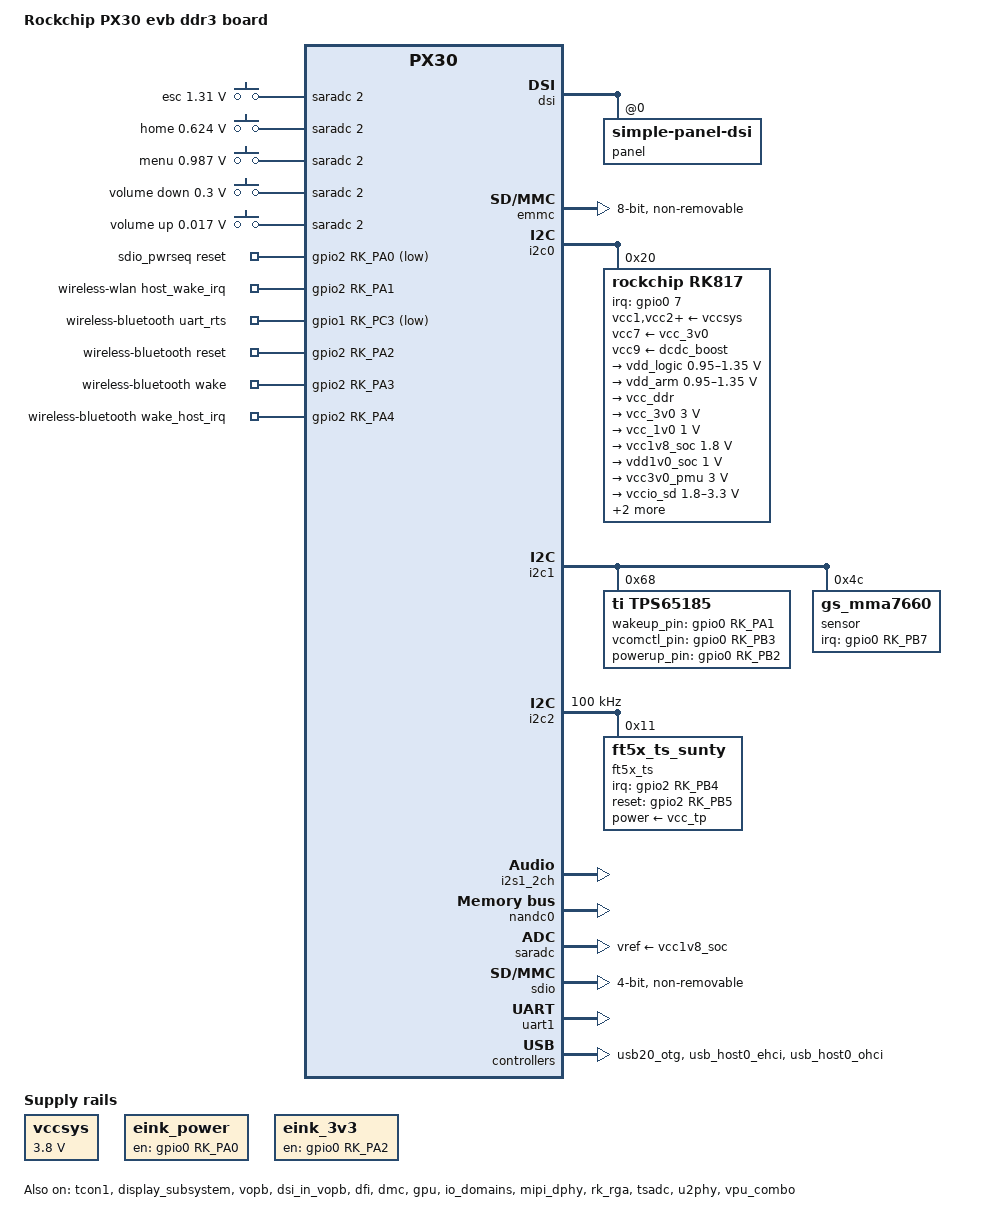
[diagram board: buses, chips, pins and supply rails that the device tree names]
/*
 * Copyright (c) 2017 Fuzhou Rockchip Electronics Co., Ltd
 *
 * SPDX-License-Identifier: (GPL-2.0+ OR MIT)
 */

/dts-v1/;
#include <dt-bindings/gpio/gpio.h>
#include <dt-bindings/pinctrl/rockchip.h>
#include <dt-bindings/input/input.h>
#include <dt-bindings/display/drm_mipi_dsi.h>
#include <dt-bindings/sensor-dev.h>
#include "px30.dtsi"
#include "px30-android.dtsi"
#include "px30-eink.dtsi"

/ {
	model = "Rockchip PX30 evb ddr3 board";
	compatible = "rockchip,px30-ht-soft", "rockchip,px30";
	eink: eink {
		compatible = "rockchip,eink";
		tcon = <&tcon1>;
		memory-region = <&display_reserved>;
		waveform-region = <&waveform_reserved>;
		nvmem = <&otp>;
		nvmem-names = "rockchip-otp";

		/* ES103TC1 */
		#if 0
		panel,width = <1872>;
		panel,height = <1404>;
		panel,vir_width = <1872>;
		panel,vir_height = <1404>;
		panel,sdck = <33300000>;
		panel,pixels-per-sdck = <8>;
		panel,lsl = <11>;
		panel,lbl = <8>;
		panel,ldl = <234>;
		panel,lel = <23>;
		panel,gdck-sta = <10>;
		panel,lgonl = <215>;
		panel,fsl = <1>;
		panel,fbl = <4>;
		panel,fdl = <1404>;
		panel,fel = <12>;
		panel,vcom-mv = <1560>;

		/* ED097TC2U1 */
		#else
		panel,width = <1200>;
		panel,height = <825>;
		panel,vir_width = <1200>;
		panel,vir_height = <832>;
		panel,sdck = <25000000>;
		panel,pixels-per-sdck = <4>;
		panel,lsl = <4>;
		panel,lbl = <4>;
		panel,ldl = <300>;
		panel,lel = <36>;
		panel,gdck-sta = <18>;
		panel,lgonl = <265>;
		panel,fsl = <2>;
		panel,fbl = <4>;
		panel,fdl = <825>;
		panel,fel = <24>;
		panel,vcom-mv = <1930>;
		#endif
	};

	adc-keys {
		compatible = "adc-keys";
		io-channels = <&saradc 2>;
		io-channel-names = "buttons";
		poll-interval = <100>;
		keyup-threshold-microvolt = <1800000>;

		esc-key {
			linux,code = <KEY_ESC>;
			label = "esc";
			press-threshold-microvolt = <1310000>;
		};

		home-key {
			linux,code = <KEY_HOME>;
			label = "home";
			press-threshold-microvolt = <624000>;
		};

		menu-key {
			linux,code = <KEY_MENU>;
			label = "menu";
			press-threshold-microvolt = <987000>;
		};

		vol-down-key {
			linux,code = <KEY_VOLUMEDOWN>;
			label = "volume down";
			press-threshold-microvolt = <300000>;
		};

		vol-up-key {
			linux,code = <KEY_VOLUMEUP>;
			label = "volume up";
			press-threshold-microvolt = <17000>;
		};
	};

	rk817-sound {
		compatible = "simple-audio-card";
		simple-audio-card,format = "i2s";
		simple-audio-card,name = "rockchip,rk817-codec";
		simple-audio-card,mclk-fs = <256>;
		simple-audio-card,widgets =
			"Microphone", "Mic Jack",
			"Headphone", "Headphone Jack";
		simple-audio-card,routing =
			"MIC_IN", "Microphone Jack",
			"IN1P", "Mic Jack",
			"Headphone Jack", "HPOL",
			"Headphone Jack", "HPOR";
		simple-audio-card,cpu {
			sound-dai = <&i2s1_2ch>;
		};
		simple-audio-card,codec {
			sound-dai = <&rk817_codec>;
		};
	};
#if 0
	rk_headset {
		compatible = "rockchip_headset";
		headset_gpio = <&gpio3 RK_PA4 GPIO_ACTIVE_LOW>;
		pinctrl-names = "default";
		pinctrl-0 = <&hp_det>;
		io-channels = <&saradc 1>;
	};
#endif
	sdio_pwrseq: sdio-pwrseq {
		compatible = "mmc-pwrseq-simple";
		/*clocks = <&rk809 1>;*/
		/*clock-names = "ext_clock";*/
		pinctrl-names = "default";
		pinctrl-0 = <&wifi_enable_h>;

		/*
		 * On the module itself this is one of these (depending
		 * on the actual card populated):
		 * - SDIO_RESET_L_WL_REG_ON
		 * - PDN (power down when low)
		 */
		reset-gpios = <&gpio2 RK_PA0 GPIO_ACTIVE_LOW>; /* GPIO3_A4 */
	};

	vccsys: vccsys {
		compatible = "regulator-fixed";
		regulator-name = "vcc3v8_sys";
		regulator-always-on;
		regulator-boot-on;
		regulator-min-microvolt = <3800000>;
		regulator-max-microvolt = <3800000>;
	};

	eink_power: eink-power {
		compatible = "regulator-fixed";
		regulator-name = "eink_power";
		gpio = <&gpio0 RK_PA0 GPIO_ACTIVE_HIGH>;
		enable-active-high;
		regulator-boot-on;
		regulator-always-on;
	};

	eink_3v3: eink-3v3 {
		compatible = "regulator-fixed";
		regulator-name = "eink-3v3";
		gpio = <&gpio0 RK_PA2 GPIO_ACTIVE_HIGH>;
		enable-active-high;
		regulator-boot-on;
		regulator-always-on;
	};

	wireless-wlan {
		compatible = "wlan-platdata";
		wifi_chip_type = "ap6212";
		WIFI,host_wake_irq = <&gpio2 RK_PA1 GPIO_ACTIVE_HIGH>;
		status = "okay";
	};

	wireless-bluetooth {
		compatible = "bluetooth-platdata";
		clocks = <&rk817 1>;
		clock-names = "ext_clock";
		uart_rts_gpios = <&gpio1 RK_PC3 GPIO_ACTIVE_LOW>;
		pinctrl-names = "default","rts_gpio";
		pinctrl-0 = <&uart1_rts>;
		pinctrl-1 = <&uart1_rts_gpio>;
		BT,reset_gpio = <&gpio2 RK_PA2 GPIO_ACTIVE_HIGH>;
		BT,wake_gpio = <&gpio2 RK_PA3 GPIO_ACTIVE_HIGH>;
		BT,wake_host_irq = <&gpio2 RK_PA4 GPIO_ACTIVE_HIGH>;
		status = "okay";
	};
};

&tcon1 {
	status = "okay";
};

&display_subsystem {
	force-disconnected;
	status = "okay";
};

&vopb {
	status = "okay";
};

&vopb_mmu {
	status = "okay";
};

&vopl {
	status = "disabled";
};

&vopl_mmu {
	status = "disabled";
};

&dsi {
	status = "okay";

	panel@0 {
		compatible = "simple-panel-dsi";
		reg = <0>;
		//power-supply = <&vcc3v3_lcd>;
		prepare-delay-ms = <2>;
		reset-delay-ms = <1>;
		init-delay-ms = <20>;
		enable-delay-ms = <120>;
		disable-delay-ms = <50>;
		unprepare-delay-ms = <20>;

		width-mm = <68>;
		height-mm = <121>;

		dsi,flags = <(MIPI_DSI_MODE_VIDEO | MIPI_DSI_MODE_VIDEO_BURST |
			      MIPI_DSI_MODE_LPM | MIPI_DSI_MODE_EOT_PACKET)>;
		dsi,format = <MIPI_DSI_FMT_RGB888>;
		dsi,lanes = <4>;

		display-timings {
			native-mode = <&timing0>;

			timing0: timing0 {
				clock-frequency = <64000000>;
				hactive = <720>;
				vactive = <1280>;
				hfront-porch = <40>;
				hsync-len = <10>;
				hback-porch = <40>;
				vfront-porch = <22>;
				vsync-len = <4>;
				vback-porch = <11>;
				hsync-active = <0>;
				vsync-active = <0>;
				de-active = <0>;
				pixelclk-active = <0>;
			};
		};
	};
};

&dsi_in_vopl {
	status = "disabled";
};

&dsi_in_vopb {
        status = "okay";
};

&route_dsi {
	status = "disabled";
};

&bus_apll {
	bus-supply = <&vdd_logic>;
	status = "okay";
};

&cpu0 {
	cpu-supply = <&vdd_arm>;
};

&dfi {
	status = "okay";
};

&dmc {
	center-supply = <&vdd_logic>;
	status = "okay";
};

&emmc {
	bus-width = <8>;
	cap-mmc-highspeed;
	mmc-hs200-1_8v;
	supports-emmc;
	disable-wp;
	non-removable;
	num-slots = <1>;
	status = "okay";
};

&gpu {
	mali-supply = <&vdd_logic>;
	status = "okay";
};

&i2c0 {
	status = "okay";

	rk817: pmic@20 {
		compatible = "rockchip,rk817";
		reg = <0x20>;
		interrupt-parent = <&gpio0>;
		interrupts = <7 IRQ_TYPE_LEVEL_LOW>;
		pinctrl-names = "default", "pmic-sleep",
				"pmic-power-off", "pmic-reset";
		pinctrl-0 = <&pmic_int>;
		pinctrl-1 = <&soc_slppin_slp>, <&rk817_slppin_slp>;
		pinctrl-2 = <&soc_slppin_gpio>, <&rk817_slppin_pwrdn>;
		pinctrl-3 = <&soc_slppin_rst>, <&rk817_slppin_rst>;
		rockchip,system-power-controller;
		wakeup-source;
		#clock-cells = <1>;
		clock-output-names = "rk808-clkout1", "rk808-clkout2";
		//fb-inner-reg-idxs = <2>;
		/* 1: rst regs (default in codes), 0: rst the pmic */
		pmic-reset-func = <1>;

		vcc1-supply = <&vccsys>;
		vcc2-supply = <&vccsys>;
		vcc3-supply = <&vccsys>;
		vcc4-supply = <&vccsys>;
		vcc5-supply = <&vccsys>;
		vcc6-supply = <&vccsys>;
		vcc7-supply = <&vcc_3v0>;
		vcc8-supply = <&vccsys>;
		vcc9-supply = <&dcdc_boost>;

		pwrkey {
			status = "okay";
		};

		pinctrl_rk8xx: pinctrl_rk8xx {
			gpio-controller;
			#gpio-cells = <2>;

			rk817_ts_gpio1: rk817_ts_gpio1 {
				pins = "gpio_ts";
				function = "pin_fun1";
				/* output-low; */
				/* input-enable; */
			};

			rk817_gt_gpio2: rk817_gt_gpio2 {
				pins = "gpio_gt";
				function = "pin_fun1";
			};

			rk817_pin_ts: rk817_pin_ts {
				pins = "gpio_ts";
				function = "pin_fun0";
			};

			rk817_pin_gt: rk817_pin_gt {
				pins = "gpio_gt";
				function = "pin_fun0";
			};

			rk817_slppin_null: rk817_slppin_null {
				pins = "gpio_slp";
				function = "pin_fun0";
			};

			rk817_slppin_slp: rk817_slppin_slp {
				pins = "gpio_slp";
				function = "pin_fun1";
			};

			rk817_slppin_pwrdn: rk817_slppin_pwrdn {
				pins = "gpio_slp";
				function = "pin_fun2";
			};

			rk817_slppin_rst: rk817_slppin_rst {
				pins = "gpio_slp";
				function = "pin_fun3";
			};
		};

		regulators {
			vdd_logic: DCDC_REG1 {
				regulator-always-on;
				regulator-boot-on;
				regulator-min-microvolt = <950000>;
				regulator-max-microvolt = <1350000>;
				regulator-ramp-delay = <6001>;
				regulator-initial-mode = <0x2>;
				regulator-name = "vdd_logic";
				regulator-state-mem {
					regulator-on-in-suspend;
					regulator-suspend-microvolt = <950000>;
				};
			};

			vdd_arm: DCDC_REG2 {
				regulator-always-on;
				regulator-boot-on;
				regulator-min-microvolt = <950000>;
				regulator-max-microvolt = <1350000>;
				regulator-ramp-delay = <6001>;
				regulator-initial-mode = <0x2>;
				regulator-name = "vdd_arm";
				regulator-state-mem {
					regulator-off-in-suspend;
					regulator-suspend-microvolt = <950000>;
				};
			};

			vcc_ddr: DCDC_REG3 {
				regulator-always-on;
				regulator-boot-on;
				regulator-name = "vcc_ddr";
				regulator-initial-mode = <0x2>;
				regulator-state-mem {
					regulator-on-in-suspend;
				};
			};

			vcc_3v0: DCDC_REG4 {
				regulator-always-on;
				regulator-boot-on;
				regulator-min-microvolt = <3000000>;
				regulator-max-microvolt = <3000000>;
				regulator-initial-mode = <0x2>;
				regulator-name = "vcc_3v0";
				regulator-state-mem {
					regulator-on-in-suspend;
					regulator-suspend-microvolt = <3000000>;
				};
			};

			vcc_1v0: LDO_REG1 {
				regulator-always-on;
				regulator-boot-on;
				regulator-min-microvolt = <1000000>;
				regulator-max-microvolt = <1000000>;
				regulator-name = "vcc_1v0";
				regulator-state-mem {
					regulator-on-in-suspend;
					regulator-suspend-microvolt = <1000000>;
				};
			};

			vcc1v8_soc: LDO_REG2 {
				regulator-always-on;
				regulator-boot-on;
				regulator-min-microvolt = <1800000>;
				regulator-max-microvolt = <1800000>;

				regulator-name = "vcc1v8_soc";
				regulator-state-mem {
					regulator-on-in-suspend;
					regulator-suspend-microvolt = <1800000>;
				};
			};

			vdd1v0_soc: LDO_REG3 {
				regulator-always-on;
				regulator-boot-on;
				regulator-min-microvolt = <1000000>;
				regulator-max-microvolt = <1000000>;

				regulator-name = "vcc1v0_soc";
				regulator-state-mem {
					regulator-on-in-suspend;
					regulator-suspend-microvolt = <1000000>;
				};
			};

			vcc3v0_pmu: LDO_REG4 {
				regulator-always-on;
				regulator-boot-on;
				regulator-min-microvolt = <3000000>;
				regulator-max-microvolt = <3000000>;

				regulator-name = "vcc3v0_pmu";
				regulator-state-mem {
					regulator-on-in-suspend;
					regulator-suspend-microvolt = <3000000>;

				};
			};

			vccio_sd: LDO_REG5 {
				regulator-always-on;
				regulator-boot-on;
				regulator-min-microvolt = <1800000>;
				regulator-max-microvolt = <3300000>;

				regulator-name = "vccio_sd";
				regulator-state-mem {
					regulator-on-in-suspend;
					regulator-suspend-microvolt = <3300000>;
				};
			};

			vcc_sd: LDO_REG6 {
				regulator-min-microvolt = <3300000>;
				regulator-max-microvolt = <3300000>;

				regulator-name = "vcc_sd";
				regulator-state-mem {
					regulator-on-in-suspend;
					regulator-suspend-microvolt = <3300000>;

				};
			};

			vcc2v8_dvp: LDO_REG7 {
				//regulator-always-on;
				//regulator-boot-on;
				regulator-min-microvolt = <3300000>;
				regulator-max-microvolt = <3300000>;

				regulator-name = "vcc2v8_dvp";
				regulator-state-mem {
					regulator-off-in-suspend;
					regulator-suspend-microvolt = <3300000>;
				};
			};

			vcc_tp: LDO_REG8 {
				//regulator-always-on;
				//regulator-boot-on;
				regulator-min-microvolt = <3300000>;
				regulator-max-microvolt = <3300000>;

				regulator-name = "vcc_tp";
				regulator-state-mem {
					regulator-off-in-suspend;
					regulator-suspend-microvolt = <3300000>;
				};
			};

			vdd1v5_dvp: LDO_REG9 {
				regulator-always-on;
				regulator-boot-on;
				regulator-min-microvolt = <1500000>;
				regulator-max-microvolt = <1500000>;

				regulator-name = "vdd1v5_dvp";
				regulator-state-mem {
					regulator-off-in-suspend;
					regulator-suspend-microvolt = <1500000>;
				};
			};

			dcdc_boost: BOOST {
				regulator-always-on;
				regulator-boot-on;
				regulator-min-microvolt = <4700000>;
				regulator-max-microvolt = <5400000>;
				regulator-name = "boost";
			};

			otg_switch: OTG_SWITCH {
				regulator-boot-on;
				regulator-name = "otg_switch";
			};
		};

		rk817_codec: codec {
			#sound-dai-cells = <0>;
			compatible = "rockchip,rk817-codec";
			clocks = <&cru SCLK_I2S1_OUT>;
			clock-names = "mclk";
			pinctrl-names = "default";
			pinctrl-0 = <&i2s1_2ch_mclk>;
			hp-volume = <20>;
			spk-volume = <3>;
			status = "okay";
		};
	};
};

&i2c1 {
	status = "okay";

	tps65185@68 {
		status = "okay";
		compatible = "ti,tps65185";
		reg = <0x68>;
		pinctrl-names = "default";
		pinctrl-0 = <&tps65185_gpio>;
		wakeup_pin = <&gpio0 RK_PA1 GPIO_ACTIVE_HIGH>;
		vcomctl_pin = <&gpio0 RK_PB3 GPIO_ACTIVE_HIGH>;
		powerup_pin = <&gpio0 RK_PB2 GPIO_ACTIVE_HIGH>;
	};


	sensor@4c {
		status = "okay";
		compatible = "gs_mma7660";
		reg = <0x4c>;
		type = <SENSOR_TYPE_ACCEL>;
		irq-gpio = <&gpio0 RK_PB7 IRQ_TYPE_LEVEL_LOW>;
		irq_enable = <0>;
		poll_delay_ms = <30>;
		layout = <2>;
		reprobe_en = <1>;
	};
};

&i2c2 {
	status = "okay";

	clock-frequency = <100000>;

	/* These are relatively safe rise/fall times; TODO: measure */
	i2c-scl-falling-time-ns = <50>;
	i2c-scl-rising-time-ns = <300>;

	#if 1
	ft5x_ts@11 {
		compatible = "ft5x_ts_sunty";	// touch
		reg = <0x11>;

        power-supply = <&vcc_tp>;
		// IRQ:GPIO7 A6
        irq-gpios = <&gpio2 RK_PB4 IRQ_TYPE_LEVEL_LOW>;
        // RST:GPIO7 A5
        reset-gpios = <&gpio2 RK_PB5 GPIO_ACTIVE_HIGH>;

		screen_max_x = <1200>;
		screen_max_y = <825>;
        
        exchange_x_y_flag = <0>;
        revert_x_flag = <0>;
        revert_y_flag = <0>;

		status = "okay"; // "okay"; // "disabled";
	};
	#else
	//tanlq 6
	gt9xx: gt9xx@5d {
		compatible = "goodix,gt9xx";
		reg = <0x5d>;
		goodix,irq-gpio = <&gpio2 RK_PB4 IRQ_TYPE_LEVEL_LOW>;
		goodix,rst-gpio = <&gpio2 RK_PB5 GPIO_ACTIVE_HIGH>;
		max-x = <1448>;
		max-y = <1072>;
		//tp-size = <970>;
		tp-supply = <&vcc_tp>;
		goodix,cfg-group0 = [
				42 D0 02 00 05 05 75 01 01 0F 24 
				0F 64 3C 03 05 00 00 00 02 00 00 
				00 16 19 1C 14 8C 0E 0E 24 00 31 
				0D 00 00 00 83 33 1D 00 41 00 00 
				00 00 00 08 0A 00 2B 1C 3C 94 D5 
				03 08 00 00 04 93 1E 00 82 23 00 
				74 29 00 69 2F 00 5F 37 00 5F 20 
				40 60 00 F0 40 30 55 50 27 00 00 
				00 00 00 00 00 00 00 00 00 00 00 
				00 00 00 00 00 00 00 14 19 00 00 
				50 50 02 04 06 08 0A 0C 0E 10 12 
				14 16 18 1A 1C 00 00 00 00 00 00 
				00 00 00 00 00 00 00 00 00 00 1D 
				1E 1F 20 21 22 24 26 28 29 2A 1C 
				18 16 14 13 12 10 0F 0C 0A 08 06 
				04 02 00 00 00 00 00 00 00 00 00 
				00 00 00 00 00 00 00 00 9C 01];
			goodix,cfg-group2 = [
				48 D0 02 00 05 05 75 01 01 0F 24 
				0F 64 3C 03 05 00 00 00 02 00 00 
				00 16 19 1C 14 8C 0E 0E 24 00 31 
				0D 00 00 00 83 33 1D 00 41 00 00 
				3C 0A 14 08 0A 00 2B 1C 3C 94 D5 
				03 08 00 00 04 93 1E 00 82 23 00 
				74 29 00 69 2F 00 5F 37 00 5F 20 
				40 60 00 F0 40 30 55 50 27 00 00 
				00 00 00 00 00 00 00 00 00 00 00 
				00 00 00 00 00 00 00 14 19 00 00 
				50 50 02 04 06 08 0A 0C 0E 10 12 
				14 16 18 1A 1C 00 00 00 00 00 00 
				00 00 00 00 00 00 00 00 00 00 1D 
				1E 1F 20 21 22 24 26 28 29 2A 1C 
				18 16 14 13 12 10 0F 0C 0A 08 06 
				04 02 00 00 00 00 00 00 00 00 00 
				00 00 00 00 00 00 00 00 3C 01];

	};
	#endif
};

&i2s1_2ch {
	status = "okay";
	#sound-dai-cells = <0>;
};

&io_domains {
	status = "okay";

	vccio1-supply = <&vcc1v8_soc>;
	vccio2-supply = <&vccio_sd>;
	vccio3-supply = <&vcc_3v0>;
	vccio4-supply = <&vcc3v0_pmu>;
	vccio5-supply = <&vcc_3v0>;
};

&isp_mmu {
	status = "disabled";
};

&mipi_dphy {
	status = "okay";
};

&nandc0 {
	status = "okay";
};

&pinctrl {
#if 0
	headphone {
		hp_det: hp-det {
			rockchip,pins = <3 RK_PA4 RK_FUNC_GPIO &pcfg_pull_down>;
		};
	};
#endif
	tps_pmic {
        tps65185_gpio: tps65185-gpio {
        rockchip,pins =
				<0 RK_PA1 RK_FUNC_GPIO &pcfg_pull_up>,
				<0 RK_PB3 RK_FUNC_GPIO &pcfg_pull_up>,
        <0 RK_PB2 RK_FUNC_GPIO &pcfg_pull_up>,
				<0 RK_PA2 RK_FUNC_GPIO &pcfg_pull_up>,
				<0 RK_PA0 RK_FUNC_GPIO &pcfg_pull_up>;
        };
	};

	pmic {
		pmic_int: pmic_int {
			rockchip,pins =
				<0 RK_PA7 RK_FUNC_GPIO &pcfg_pull_up>;
		};

		soc_slppin_gpio: soc_slppin_gpio {
			rockchip,pins =
				<0 RK_PA4 RK_FUNC_GPIO &pcfg_output_low>;
		};

		soc_slppin_slp: soc_slppin_slp {
			rockchip,pins =
				<0 RK_PA4 RK_FUNC_1 &pcfg_pull_none>;
		};

		soc_slppin_rst: soc_slppin_rst {
			rockchip,pins =
				<0 RK_PA4 RK_FUNC_2 &pcfg_pull_none>;
		};
	};

	sdio-pwrseq {
		wifi_enable_h: wifi-enable-h {
			rockchip,pins = <3 RK_PB0 RK_FUNC_GPIO &pcfg_pull_none>;
		};
	};

};

&pmu_io_domains {
	status = "okay";

	pmuio1-supply = <&vcc3v0_pmu>;
	pmuio2-supply = <&vcc3v0_pmu>;
};

&rk_rga {
	status = "okay";
};

&rockchip_suspend {
	status = "okay";
	rockchip,sleep-debug-en = <1>;
};

&saradc {
	status = "okay";
	vref-supply = <&vcc1v8_soc>;
};

&sdmmc {
	bus-width = <4>;
	cap-mmc-highspeed;
	cap-sd-highspeed;
	supports-sd;
	card-detect-delay = <800>;
	ignore-pm-notify;
	/*cd-gpios = <&gpio2 4 GPIO_ACTIVE_HIGH>; [> CD GPIO <]*/
	sd-uhs-sdr12;
	sd-uhs-sdr25;
	sd-uhs-sdr50;
	sd-uhs-sdr104;
	vqmmc-supply = <&vccio_sd>;
	vmmc-supply = <&vcc_sd>;
//tanlq close for uart debug
	status = "disabled";//"okay";
};

&sdio {
	bus-width = <4>;
	cap-sd-highspeed;
	supports-sdio;
	ignore-pm-notify;
	keep-power-in-suspend;
	non-removable;
	mmc-pwrseq = <&sdio_pwrseq>;
	sd-uhs-sdr104;
	status = "okay";
};

&tsadc {
	pinctrl-names = "init", "default";
	pinctrl-0 = <&tsadc_otp_gpio>;
	pinctrl-1 = <&tsadc_otp_out>;
	status = "okay";
};

&uart1 {
	pinctrl-names = "default";
	pinctrl-0 = <&uart1_xfer &uart1_cts>;
	status = "okay";
};

&u2phy {
	status = "okay";

	u2phy_host: host-port {
		status = "okay";
	};

	u2phy_otg: otg-port {
		status = "okay";
	};
};

&usb20_otg {
	status = "okay";
};

&usb_host0_ehci {
	status = "okay";
};

&usb_host0_ohci {
	status = "okay";
};

&vpu_combo {
	status = "okay";
};

&firmware_android {
	compatible = "android,firmware";
	fstab {
		compatible = "android,fstab";
		system {
			compatible = "android,system";
			dev = "/dev/block/by-name/system";
			type = "ext4";
			mnt_flags = "ro,barrier=1,inode_readahead_blks=8";
			fsmgr_flags = "wait";
		};
		vendor {
			compatible = "android,vendor";
			dev = "/dev/block/by-name/vendor";
			type = "ext4";
			mnt_flags = "ro,barrier=1,inode_readahead_blks=8";
			fsmgr_flags = "wait";
		};
	};
};
